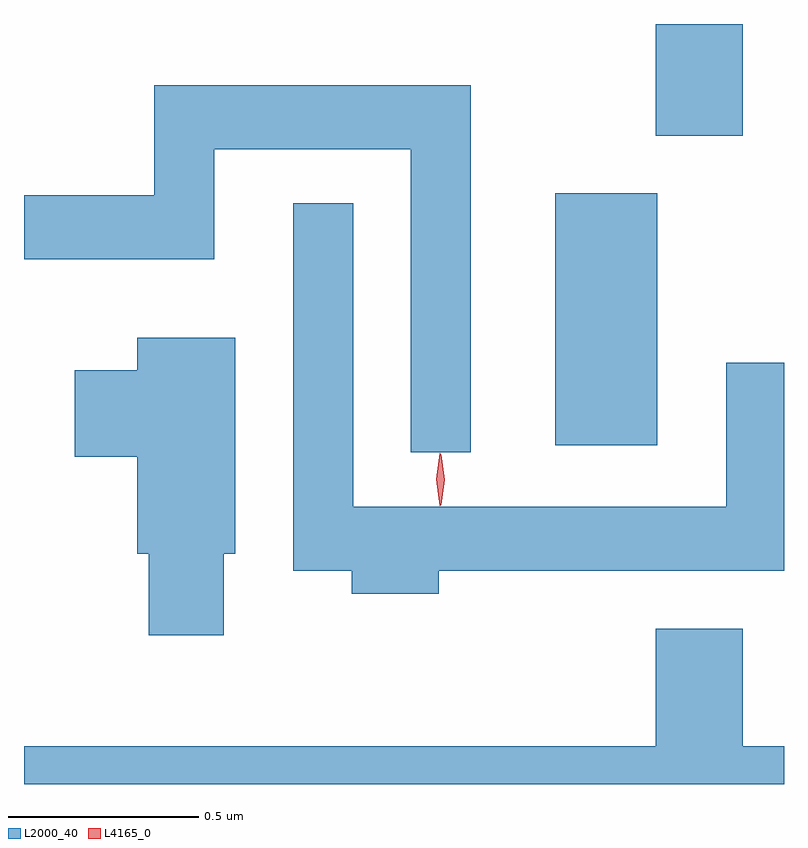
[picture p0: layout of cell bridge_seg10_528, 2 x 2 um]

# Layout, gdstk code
import gdstk
lib = gdstk.Library(unit=1e-6, precision=1e-09)
def R(c, l, rs):  # rectangles x0, y0, x1, y1
    for r in rs: c.add(gdstk.rectangle(r[:2], r[2:], *l))
def P(c, l, *ps):  # polygons
    for p in ps: c.add(gdstk.Polygon(p, *l))
L2000_40 = (2000, 40)
L4165_0 = (4165, 0)

bridge_seg10_528 = lib.new_cell('bridge_seg10_528')
R(bridge_seg10_528, L2000_40, [(907.526,2152.716,907.794,2153.379), (907.791,2153.531,908.019,2153.825)])
P(bridge_seg10_528, L2000_40, [(907.304,2153.664),(906.471,2153.664),(906.471,2153.374),(906.128,2153.374),(906.128,2153.206),(906.629,2153.206),(906.629,2153.496),(907.146,2153.496),(907.146,2152.698),(907.304,2152.698)],
  [(907.219,2152.386),(908.128,2152.386),(908.128,2152.933),(907.976,2152.933),(907.976,2152.554),(906.994,2152.554),(906.994,2153.353),(906.836,2153.353),(906.836,2152.386),(906.991,2152.386),(906.991,2152.326),(907.219,2152.326)],
  [(906.654,2152.431),(906.684,2152.431),(906.684,2152.999),(906.426,2152.999),(906.426,2152.914),(906.261,2152.914),(906.261,2152.686),(906.426,2152.686),(906.426,2152.431),(906.456,2152.431),(906.456,2152.216),(906.654,2152.216)],
  [(908.128,2151.924),(908.019,2151.924),(908.019,2152.234),(907.791,2152.234),(907.791,2151.924),(906.128,2151.924),(906.128,2151.825),(908.128,2151.825)])
P(bridge_seg10_528, L4165_0, [(907.222,2152.557),(907.213,2152.627),(907.222,2152.696),(907.223,2152.696),(907.224,2152.696),(907.233,2152.627),(907.224,2152.557),(907.223,2152.557)],
  [(907.225,2152.559),(907.225,2152.56),(907.215,2152.626),(907.225,2152.692),(907.225,2152.693),(907.226,2152.692),(907.235,2152.626),(907.226,2152.56)])

lib.write_gds('bridge_seg10_528.gds')
